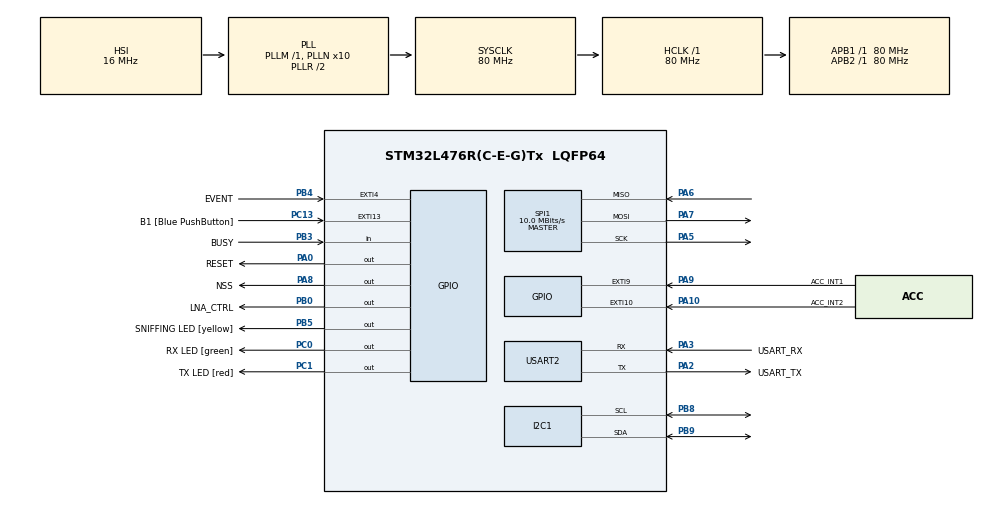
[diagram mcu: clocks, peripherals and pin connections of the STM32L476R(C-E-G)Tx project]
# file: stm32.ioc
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I2C1.Timing=0x10909CEC
Mcu.Family=STM32L4
Mcu.Name=STM32L476R(C-E-G)Tx
Mcu.Package=LQFP64
NVIC.EXTI4_IRQn=true\:0\:0\:false\:false\:true\:true\:true\:true
NVIC.PriorityGroup=NVIC_PRIORITYGROUP_4
PA0.GPIO_Label=RESET
PA0.Signal=GPIO_Output
PA10.GPIO_Label=ACC_INT2
PA10.Signal=GPXTI10
PA13\ (JTMS-SWDIO).GPIO_Label=TMS
PA13\ (JTMS-SWDIO).Mode=Serial_Wire
PA13\ (JTMS-SWDIO).Signal=SYS_JTMS-SWDIO
PA14\ (JTCK-SWCLK).GPIO_Label=TCK
PA14\ (JTCK-SWCLK).Mode=Serial_Wire
PA14\ (JTCK-SWCLK).Signal=SYS_JTCK-SWCLK
PA2.GPIO_Label=USART_TX
PA2.GPIO_Mode=GPIO_MODE_AF_PP
PA2.GPIO_PuPd=GPIO_NOPULL
PA2.GPIO_Speed=GPIO_SPEED_FREQ_VERY_HIGH
PA2.Mode=Asynchronous
PA2.Signal=USART2_TX
PA3.GPIO_Label=USART_RX
PA3.GPIO_Mode=GPIO_MODE_AF_PP
PA3.GPIO_PuPd=GPIO_NOPULL
PA3.GPIO_Speed=GPIO_SPEED_FREQ_VERY_HIGH
PA3.Mode=Asynchronous
PA3.Signal=USART2_RX
PA5.Mode=Full_Duplex_Master
PA5.Signal=SPI1_SCK
PA6.Mode=Full_Duplex_Master
PA6.Signal=SPI1_MISO
PA7.Mode=Full_Duplex_Master
PA7.Signal=SPI1_MOSI
PA8.GPIO_Label=NSS
PA8.PinState=GPIO_PIN_SET
PA8.Signal=GPIO_Output
PA9.GPIO_Label=ACC_INT1
PA9.Signal=GPXTI9
PB0.GPIO_Label=LNA_CTRL
PB0.Signal=GPIO_Output
PB3\ (JTDO-TRACESWO).GPIO_Label=BUSY
PB3\ (JTDO-TRACESWO).Signal=GPIO_Input
PB4\ (NJTRST).GPIO_Label=EVENT
PB4\ (NJTRST).GPIO_ModeDefaultEXTI=GPIO_MODE_IT_RISING
PB4\ (NJTRST).GPIO_PuPd=GPIO_PULLDOWN
PB4\ (NJTRST).Signal=GPXTI4
PB5.GPIO_Label=SNIFFING LED [yellow]
PB5.Signal=GPIO_Output
PB8.Mode=I2C
PB8.Signal=I2C1_SCL
PB9.Mode=I2C
PB9.Signal=I2C1_SDA
PC0.GPIO_Label=RX LED [green]
PC0.Signal=GPIO_Output
PC1.GPIO_Label=TX LED [red]
PC1.Signal=GPIO_Output
PC13.GPIO_Label=B1 [Blue PushButton]
PC13.GPIO_ModeDefaultEXTI=GPIO_MODE_IT_FALLING
PC13.GPIO_PuPd=GPIO_NOPULL
PC13.Signal=GPXTI13
PC14-OSC32_IN\ (PC14).Mode=LSE-External-Oscillator
PC14-OSC32_IN\ (PC14).Signal=RCC_OSC32_IN
PC15-OSC32_OUT\ (PC15).Mode=LSE-External-Oscillator
PC15-OSC32_OUT\ (PC15).Signal=RCC_OSC32_OUT
PH0-OSC_IN\ (PH0).Signal=RCC_OSC_IN
PH1-OSC_OUT\ (PH1).Signal=RCC_OSC_OUT
ProjectManager.HeapSize=0x200
ProjectManager.StackSize=0x400
ProjectManager.TargetToolchain=Makefile
RCC.ADCFreq_Value=64000000
RCC.AHBFreq_Value=80000000
RCC.APB1Freq_Value=80000000
RCC.APB1TimFreq_Value=80000000
RCC.APB2Freq_Value=80000000
RCC.APB2TimFreq_Value=80000000
RCC.CortexFreq_Value=80000000
RCC.HCLKFreq_Value=80000000
RCC.HSE_VALUE=8000000
RCC.HSI_VALUE=16000000
RCC.MSI_VALUE=4000000
RCC.PLLN=10
RCC.PLLSourceVirtual=RCC_PLLSOURCE_HSI
RCC.PREFETCH_ENABLE=1
RCC.SYSCLKFreq_VALUE=80000000
RCC.SYSCLKSource=RCC_SYSCLKSOURCE_PLLCLK
RCC.USBFreq_Value=64000000
RCC.VCOOutputFreq_Value=160000000
SPI1.BaudRatePrescaler=SPI_BAUDRATEPRESCALER_8
SPI1.CLKPolarity=SPI_POLARITY_LOW
SPI1.CalculateBaudRate=10.0 MBits/s
SPI1.DataSize=SPI_DATASIZE_8BIT
SPI1.Direction=SPI_DIRECTION_2LINES
SPI1.Mode=SPI_MODE_MASTER
SPI1.VirtualType=VM_MASTER
USART2.VirtualMode-Asynchronous=VM_ASYNC
VP_RTC_VS_RTC_Activate.Mode=RTC_Enabled
VP_RTC_VS_RTC_Calendar.Mode=RTC_Calendar
board=NUCLEO-L476RG

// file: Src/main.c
/* USER CODE BEGIN Header */
/**
  ******************************************************************************
  * @file           : main.c
  * @brief          : Main program body
  ******************************************************************************
  * @attention
  *
  * Copyright (c) 2024 STMicroelectronics.
  * All rights reserved.
  *
  * This software is licensed under terms that can be found in the LICENSE file
  * in the root directory of this software component.
  * If no LICENSE file comes with this software, it is provided AS-IS.
  *
  ******************************************************************************
  */
/* USER CODE END Header */
#include "main.h"

/* USER CODE BEGIN Includes */

#include <stdlib.h> // used for malloc function
#include <string.h> // used for strlen function
#include <stdarg.h> // used for va_list, va_start, va_end functions
#include <stdio.h>  // used for vsprintf function

#include "accelerometer.h"
#include "gnss.h"
#include "helper.h"
#include "led.h"
#include "lora.h"
#include "lr1110.h"
//#include "spi.h"
#include "wifi.h"

/* USER CODE END Includes */

I2C_HandleTypeDef hi2c1;

RTC_HandleTypeDef hrtc;

SPI_HandleTypeDef hspi1;

UART_HandleTypeDef huart2;

void SystemClock_Config(void);
static void MX_GPIO_Init(void);
static void MX_USART2_UART_Init(void);
static void MX_RTC_Init(void);
static void MX_SPI1_Init(void);
static void MX_I2C1_Init(void);

/* USER CODE BEGIN 0 */

radio_t lr1110_context_memory[sizeof(radio_t)];
void* lr1110_context = lr1110_context_memory;

/* USER CODE END 0 */

int main(void)
{

  /* MCU Configuration--------------------------------------------------------*/

  /* Reset of all peripherals, Initializes the Flash interface and the Systick. */
  HAL_Init();

  /* USER CODE BEGIN Init */

  //void* lr1110_context = (void*) malloc(sizeof(radio_t));
  ((radio_t*)lr1110_context)->spi         = SPI1;
  ((radio_t*)lr1110_context)->nss.port    = NSS_GPIO_Port;
  ((radio_t*)lr1110_context)->nss.pin     = NSS_Pin;
  ((radio_t*)lr1110_context)->reset.port  = RESET_GPIO_Port;
  ((radio_t*)lr1110_context)->reset.pin   = RESET_Pin;
  ((radio_t*)lr1110_context)->busy.port   = BUSY_GPIO_Port;
  ((radio_t*)lr1110_context)->busy.pin    = BUSY_Pin;
  ((radio_t*)lr1110_context)->hspi        = &hspi1;

  uint8_t chip_eui[8] = {0};
  uint8_t join_eui[8] = {0};
  uint8_t pin[4]      = {0};

  /* USER CODE END Init */

  /* Configure the system clock */
  SystemClock_Config();

  /* Initialize all configured peripherals */
  MX_GPIO_Init();
  MX_USART2_UART_Init();
  MX_RTC_Init();
  MX_SPI1_Init();
  MX_I2C1_Init();
  /* USER CODE BEGIN 2 */

  HAL_DBG_TRACE_MSG("\r\n\r\n-----------------------------------------------------\r\n\r\n");
  resetLR1110(lr1110_context, 0);
  blinkLED(GPIOC, RX_LED_Pin|TX_LED_Pin, 100, 5);

  clearLR1110_Errors(lr1110_context);
  clearLR1110_IRQ(lr1110_context);

  setLR1110_TCXO_Mode(lr1110_context);

  // clearLR1110_RX_Buffer(lr1110_context);

  // setLR1110_Standby_Mode(lr1110_context, 0x01);    //comment out for custom PCB

  // calibrateLR1110( lr1110_context, 0x3F);    //comment out for custom PCB

  // calibrateLR1110_Image( lr1110_context, 0xD7, 0xDB );
  setLR1110_RF_Frequency(lr1110_context, 868000000);

  setLR1110_Dio_Irq_Params(lr1110_context, set_bit_x_to_1(2), set_bit_x_to_1(10));

  // getLR1110_Errors(lr1110_context);

  // BOOTLOADER
  getLR1110_Bootloader_Version(lr1110_context);
  getLR1110_WiFi_Version(lr1110_context);
  getLR1110_ChipEUI(lr1110_context, chip_eui);
  getLR1110_Semtech_JoinEui(lr1110_context, join_eui);
  getLR1110_Root_Keys_And_Pin(lr1110_context, pin);
  getLR1110_Temperature(lr1110_context);
  getLR1110_Battery_Voltage(lr1110_context);    //comment out the last few commands for custom PCB

  initLIS2DE12(hi2c1);

  // GNSS
  setLR1110_GNSS_Constellation(lr1110_context, 0b11);
  getLR1110_GNSS_Version(lr1110_context);

  // LORA
  // setLR1110_LoRa_Packet_Type(lr1110_context, 0x02);
  // getLR1110_LoRa_Packet_Type(lr1110_context);
  // setLR1110_LoRa_Modulation_Params(lr1110_context, 0x0C, 0x06, 0x01, 0x00);         // (lr1110_context, 0x07, 0x05, 0x01, 0x00); NOT SURE ABOUT VALUE 4
  // setLR1110_LoRa_Packet_Params(lr1110_context, 0x00, 0x08, 0x00, 0x00, 0x01, 0x00); // NOT SURE ABOUT VALUE 1,2,4 and 6
  // setLR1110_LoRa_PA_Config(lr1110_context, 0x01, 0x01, 0x04, 0x07);                 // DONT KNOW WHAT TO PUT HERE
  // setLR1110_LoRa_TX_Params(lr1110_context, 0x16, 0x02);                             // DONT KNOW WHAT TO PUT HERE
  // setLR1110_LoRa_Public_Network(lr1110_context, 0x01);
  // joinAccepts(lr1110_context, 0x02, 0x00, 1);

  /* USER CODE END 2 */

  /* Infinite loop */
  /* USER CODE BEGIN WHILE */
  while (1) {

    // for (uint8_t address = 0; address <= 127; address++) {
    //   HAL_StatusTypeDef result;
    //   result = HAL_I2C_IsDeviceReady(&hi2c1, address << 1, 1, 100);

    //   if (result == HAL_OK) {
    //     HAL_DBG_TRACE_INFO("I2C device found at address: 0x%02X\r\n", address);
    //   }
    // }

    // getLIS2DE12_Temperature();
    // getLIS2DE12_Acceleration();

    // writeLR1110_Buffer8(lr1110_context, 0x02);
    // setLR1110_TX(lr1110_context, 5000);

    // getLR1110_Status(lr1110_context);
    // getLR1110_Errors(lr1110_context);

    //WIFI
    // scanLR1110_WiFi_Networks(lr1110_context, 0x04, 0x3FFF, 0x04, 32, 3, 500, true);
    // // scanLR1110_WiFi_Country_Code(lr1110_context, 0x3FFF, 32, 3, 500, true);
    // uint8_t numberOfResults = getLR1110_WiFi_Number_of_Results(lr1110_context);
    // // getLR1110_WiFi_Results(lr1110_context, 0, 6, 4);
    // for( int i = 0; i < numberOfResults; i++ ) {
    //   getWiFiFullResults( lr1110_context, i, 1 );
    // }

    // getLR1110_Status(lr1110_context);
    // getLR1110_Errors(lr1110_context);

    // GNSS
    scanLR1110_GNSS_Satellites(lr1110_context, 0, 0, 0);
    uint8_t numberOfDetectedSatellites = getLR1110_GNSS_Number_of_Detected_Satellites(lr1110_context);
    if (numberOfDetectedSatellites > 0) {
      getLR1110_GNSS_Detected_Satellites(lr1110_context, numberOfDetectedSatellites);
      getLR1110_GNSS_Consumption(lr1110_context);
    }

    /* USER CODE END WHILE */

    /* USER CODE BEGIN 3 */
    HAL_DBG_TRACE_MSG_COLOR("\r\nWaiting for next while loop...\r\n", HAL_DBG_TRACE_COLOR_BLUE);
    HAL_Delay(1000);
  }
  /* USER CODE END 3 */
}

void SystemClock_Config(void)
{
  RCC_OscInitTypeDef RCC_OscInitStruct = {0};
  RCC_ClkInitTypeDef RCC_ClkInitStruct = {0};

  /** Configure the main internal regulator output voltage
  */
  if (HAL_PWREx_ControlVoltageScaling(PWR_REGULATOR_VOLTAGE_SCALE1) != HAL_OK)
  {
    Error_Handler();
  }

  /** Initializes the RCC Oscillators according to the specified parameters
  * in the RCC_OscInitTypeDef structure.
  */
  RCC_OscInitStruct.OscillatorType = RCC_OSCILLATORTYPE_HSI|RCC_OSCILLATORTYPE_LSI;
  RCC_OscInitStruct.HSIState = RCC_HSI_ON;
  RCC_OscInitStruct.HSICalibrationValue = RCC_HSICALIBRATION_DEFAULT;
  RCC_OscInitStruct.LSIState = RCC_LSI_ON;
  RCC_OscInitStruct.PLL.PLLState = RCC_PLL_ON;
  RCC_OscInitStruct.PLL.PLLSource = RCC_PLLSOURCE_HSI;
  RCC_OscInitStruct.PLL.PLLM = 1;
  RCC_OscInitStruct.PLL.PLLN = 10;
  RCC_OscInitStruct.PLL.PLLP = RCC_PLLP_DIV7;
  RCC_OscInitStruct.PLL.PLLQ = RCC_PLLQ_DIV2;
  RCC_OscInitStruct.PLL.PLLR = RCC_PLLR_DIV2;
  if (HAL_RCC_OscConfig(&RCC_OscInitStruct) != HAL_OK)
  {
    Error_Handler();
  }

  /** Initializes the CPU, AHB and APB buses clocks
  */
  RCC_ClkInitStruct.ClockType = RCC_CLOCKTYPE_HCLK|RCC_CLOCKTYPE_SYSCLK
                              |RCC_CLOCKTYPE_PCLK1|RCC_CLOCKTYPE_PCLK2;
  RCC_ClkInitStruct.SYSCLKSource = RCC_SYSCLKSOURCE_PLLCLK;
  RCC_ClkInitStruct.AHBCLKDivider = RCC_SYSCLK_DIV1;
  RCC_ClkInitStruct.APB1CLKDivider = RCC_HCLK_DIV1;
  RCC_ClkInitStruct.APB2CLKDivider = RCC_HCLK_DIV1;

  if (HAL_RCC_ClockConfig(&RCC_ClkInitStruct, FLASH_LATENCY_4) != HAL_OK)
  {
    Error_Handler();
  }
}

static void MX_I2C1_Init(void)
{

  hi2c1.Instance = I2C1;
  hi2c1.Init.Timing = 0x10909CEC;
  hi2c1.Init.OwnAddress1 = 0;
  hi2c1.Init.AddressingMode = I2C_ADDRESSINGMODE_7BIT;
  hi2c1.Init.DualAddressMode = I2C_DUALADDRESS_DISABLE;
  hi2c1.Init.OwnAddress2 = 0;
  hi2c1.Init.OwnAddress2Masks = I2C_OA2_NOMASK;
  hi2c1.Init.GeneralCallMode = I2C_GENERALCALL_DISABLE;
  hi2c1.Init.NoStretchMode = I2C_NOSTRETCH_DISABLE;
  if (HAL_I2C_Init(&hi2c1) != HAL_OK)
  {
    Error_Handler();
  }

  /** Configure Analogue filter
  */
  if (HAL_I2CEx_ConfigAnalogFilter(&hi2c1, I2C_ANALOGFILTER_ENABLE) != HAL_OK)
  {
    Error_Handler();
  }

  /** Configure Digital filter
  */
  if (HAL_I2CEx_ConfigDigitalFilter(&hi2c1, 0) != HAL_OK)
  {
    Error_Handler();
  }

}

static void MX_RTC_Init(void)
{

  RTC_TimeTypeDef sTime = {0};
  RTC_DateTypeDef sDate = {0};

  /** Initialize RTC Only
  */
  hrtc.Instance = RTC;
  hrtc.Init.HourFormat = RTC_HOURFORMAT_24;
  hrtc.Init.AsynchPrediv = 127;
  hrtc.Init.SynchPrediv = 255;
  hrtc.Init.OutPut = RTC_OUTPUT_DISABLE;
  hrtc.Init.OutPutRemap = RTC_OUTPUT_REMAP_NONE;
  hrtc.Init.OutPutPolarity = RTC_OUTPUT_POLARITY_HIGH;
  hrtc.Init.OutPutType = RTC_OUTPUT_TYPE_OPENDRAIN;
  if (HAL_RTC_Init(&hrtc) != HAL_OK)
  {
    Error_Handler();
  }

  /** Initialize RTC and set the Time and Date
  */
  sTime.Hours = 0x0;
  sTime.Minutes = 0x0;
  sTime.Seconds = 0x0;
  sTime.DayLightSaving = RTC_DAYLIGHTSAVING_NONE;
  sTime.StoreOperation = RTC_STOREOPERATION_RESET;
  if (HAL_RTC_SetTime(&hrtc, &sTime, RTC_FORMAT_BCD) != HAL_OK)
  {
    Error_Handler();
  }
  sDate.WeekDay = RTC_WEEKDAY_MONDAY;
  sDate.Month = RTC_MONTH_JANUARY;
  sDate.Date = 0x1;
  sDate.Year = 0x0;

  if (HAL_RTC_SetDate(&hrtc, &sDate, RTC_FORMAT_BCD) != HAL_OK)
  {
    Error_Handler();
  }

}

static void MX_SPI1_Init(void)
{

  /* SPI1 parameter configuration*/
  hspi1.Instance = SPI1;
  hspi1.Init.Mode = SPI_MODE_MASTER;
  hspi1.Init.Direction = SPI_DIRECTION_2LINES;
  hspi1.Init.DataSize = SPI_DATASIZE_8BIT;
  hspi1.Init.CLKPolarity = SPI_POLARITY_LOW;
  hspi1.Init.CLKPhase = SPI_PHASE_1EDGE;
  hspi1.Init.NSS = SPI_NSS_SOFT;
  hspi1.Init.BaudRatePrescaler = SPI_BAUDRATEPRESCALER_8;
  hspi1.Init.FirstBit = SPI_FIRSTBIT_MSB;
  hspi1.Init.TIMode = SPI_TIMODE_DISABLE;
  hspi1.Init.CRCCalculation = SPI_CRCCALCULATION_DISABLE;
  hspi1.Init.CRCPolynomial = 7;
  hspi1.Init.CRCLength = SPI_CRC_LENGTH_DATASIZE;
  hspi1.Init.NSSPMode = SPI_NSS_PULSE_ENABLE;
  if (HAL_SPI_Init(&hspi1) != HAL_OK)
  {
    Error_Handler();
  }
  /* USER CODE BEGIN SPI1_Init 2 */

  __HAL_SPI_ENABLE( &hspi1 );

  /* USER CODE END SPI1_Init 2 */

}

static void MX_USART2_UART_Init(void)
{

  huart2.Instance = USART2;
  huart2.Init.BaudRate = 115200;
  huart2.Init.WordLength = UART_WORDLENGTH_8B;
  huart2.Init.StopBits = UART_STOPBITS_1;
  huart2.Init.Parity = UART_PARITY_NONE;
  huart2.Init.Mode = UART_MODE_TX_RX;
  huart2.Init.HwFlowCtl = UART_HWCONTROL_NONE;
  huart2.Init.OverSampling = UART_OVERSAMPLING_16;
  huart2.Init.OneBitSampling = UART_ONE_BIT_SAMPLE_DISABLE;
  huart2.AdvancedInit.AdvFeatureInit = UART_ADVFEATURE_NO_INIT;
  if (HAL_UART_Init(&huart2) != HAL_OK)
  {
    Error_Handler();
  }

}

static void MX_GPIO_Init(void)
{
  GPIO_InitTypeDef GPIO_InitStruct = {0};

  /* GPIO Ports Clock Enable */
  __HAL_RCC_GPIOC_CLK_ENABLE();
  __HAL_RCC_GPIOH_CLK_ENABLE();
  __HAL_RCC_GPIOA_CLK_ENABLE();
  __HAL_RCC_GPIOB_CLK_ENABLE();

  /*Configure GPIO pin Output Level */
  HAL_GPIO_WritePin(GPIOC, RX_LED_Pin|TX_LED_Pin, GPIO_PIN_RESET);

  /*Configure GPIO pin Output Level */
  HAL_GPIO_WritePin(RESET_GPIO_Port, RESET_Pin, GPIO_PIN_RESET);

  /*Configure GPIO pin Output Level */
  HAL_GPIO_WritePin(GPIOB, LNA_CTRL_Pin|SNIFFING_LED_Pin, GPIO_PIN_RESET);

  /*Configure GPIO pin Output Level */
  HAL_GPIO_WritePin(NSS_GPIO_Port, NSS_Pin, GPIO_PIN_SET);

  /*Configure GPIO pin : B1_Pin */
  GPIO_InitStruct.Pin = B1_Pin;
  GPIO_InitStruct.Mode = GPIO_MODE_IT_FALLING;
  GPIO_InitStruct.Pull = GPIO_NOPULL;
  HAL_GPIO_Init(B1_GPIO_Port, &GPIO_InitStruct);

  /*Configure GPIO pins : RX_LED_Pin TX_LED_Pin */
  GPIO_InitStruct.Pin = RX_LED_Pin|TX_LED_Pin;
  GPIO_InitStruct.Mode = GPIO_MODE_OUTPUT_PP;
  GPIO_InitStruct.Pull = GPIO_NOPULL;
  GPIO_InitStruct.Speed = GPIO_SPEED_FREQ_LOW;
  HAL_GPIO_Init(GPIOC, &GPIO_InitStruct);

  /*Configure GPIO pins : RESET_Pin NSS_Pin */
  GPIO_InitStruct.Pin = RESET_Pin|NSS_Pin;
  GPIO_InitStruct.Mode = GPIO_MODE_OUTPUT_PP;
  GPIO_InitStruct.Pull = GPIO_NOPULL;
  GPIO_InitStruct.Speed = GPIO_SPEED_FREQ_LOW;
  HAL_GPIO_Init(GPIOA, &GPIO_InitStruct);

  /*Configure GPIO pins : LNA_CTRL_Pin SNIFFING_LED_Pin */
  GPIO_InitStruct.Pin = LNA_CTRL_Pin|SNIFFING_LED_Pin;
  GPIO_InitStruct.Mode = GPIO_MODE_OUTPUT_PP;
  GPIO_InitStruct.Pull = GPIO_NOPULL;
  GPIO_InitStruct.Speed = GPIO_SPEED_FREQ_LOW;
  HAL_GPIO_Init(GPIOB, &GPIO_InitStruct);

  /*Configure GPIO pin : ACC_INT1_Pin */
  GPIO_InitStruct.Pin = ACC_INT1_Pin;
  GPIO_InitStruct.Mode = GPIO_MODE_IT_RISING;
  GPIO_InitStruct.Pull = GPIO_NOPULL;
  HAL_GPIO_Init(ACC_INT1_GPIO_Port, &GPIO_InitStruct);

  /*Configure GPIO pin : BUSY_Pin */
  GPIO_InitStruct.Pin = BUSY_Pin;
  GPIO_InitStruct.Mode = GPIO_MODE_INPUT;
  GPIO_InitStruct.Pull = GPIO_NOPULL;
  HAL_GPIO_Init(BUSY_GPIO_Port, &GPIO_InitStruct);

  /*Configure GPIO pin : EVENT_Pin */
  GPIO_InitStruct.Pin = EVENT_Pin;
  GPIO_InitStruct.Mode = GPIO_MODE_IT_RISING;
  GPIO_InitStruct.Pull = GPIO_PULLDOWN;
  HAL_GPIO_Init(EVENT_GPIO_Port, &GPIO_InitStruct);

  /* EXTI interrupt init*/
  HAL_NVIC_SetPriority(EXTI4_IRQn, 0, 0);
  HAL_NVIC_EnableIRQ(EXTI4_IRQn);

  HAL_NVIC_SetPriority(EXTI9_5_IRQn, 0, 0);
  HAL_NVIC_EnableIRQ(EXTI9_5_IRQn);

}

/* USER CODE BEGIN 4 */

void HAL_GPIO_EXTI_Callback(uint16_t GPIO_Pin) {
  if(GPIO_Pin == EVENT_Pin) {
    toggleLED( GPIOB, SNIFFING_LED_Pin );
    HAL_DBG_TRACE_MSG_COLOR("\r\nINTERRUPT\r\n", HAL_DBG_TRACE_COLOR_CUSTOM);
    getLR1110_Status( lr1110_context );
  } else if(GPIO_Pin == ACC_INT1_Pin) {
    HAL_DBG_TRACE_INFO("ACC_INT1_Pin\r\n");
  } else {
    __NOP();
  }
}

void HAL_DBG_TRACE_PRINT( const char* fmt, ... ) {
  va_list argp;
  va_start( argp, fmt );

  char string[255];
  if( 0 < vsprintf( string, fmt, argp ) ) {
      if (HAL_UART_Transmit(&huart2, (uint8_t*) string, (uint16_t) strlen((const char*) string), 1000) != HAL_OK) {
          Error_Handler();
      }
  }

  va_end( argp );
}

/* USER CODE END 4 */

void Error_Handler(void)
{
  /* USER CODE BEGIN Error_Handler_Debug */

  HAL_DBG_TRACE_ERROR( "%s\n", __func__ );
  HAL_DBG_TRACE_ERROR( "PANIC" );

  /* User can add his own implementation to report the HAL error return state */
  __disable_irq();

  /* Restart system */
  NVIC_SystemReset( );

  while (1) {  }
  /* USER CODE END Error_Handler_Debug */
}
